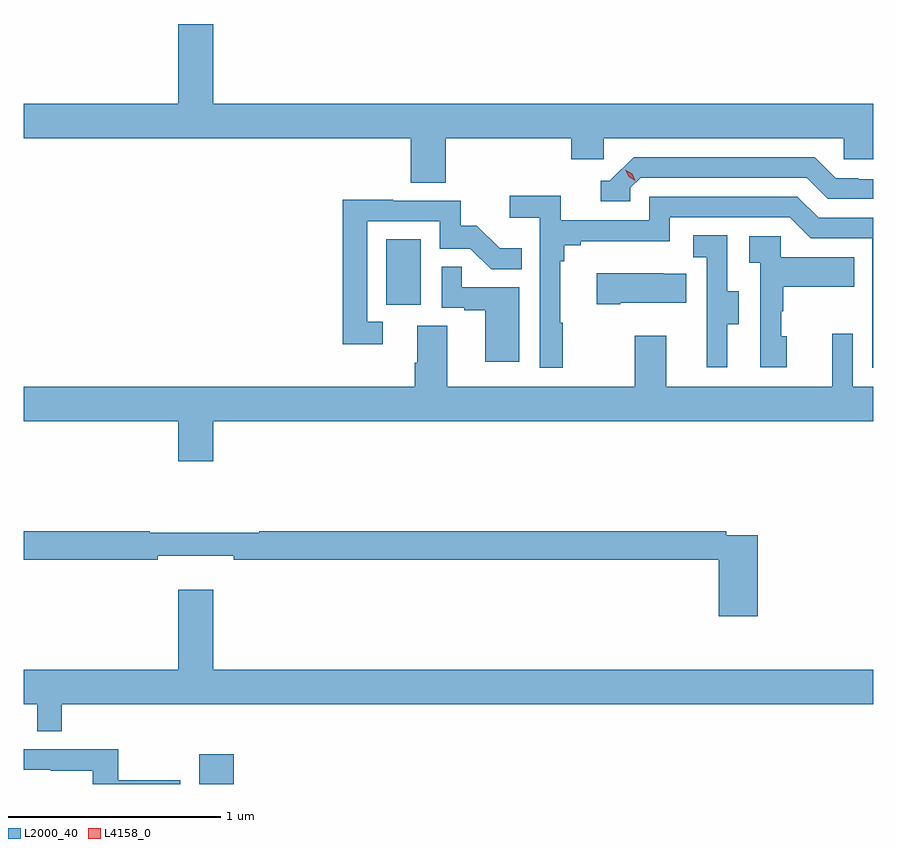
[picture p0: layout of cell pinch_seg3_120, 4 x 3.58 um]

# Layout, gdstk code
import gdstk
lib = gdstk.Library(unit=1e-6, precision=1e-09)
def R(c, l, rs):  # rectangles x0, y0, x1, y1
    for r in rs: c.add(gdstk.rectangle(r[:2], r[2:], *l))
def P(c, l, *ps):  # polygons
    for p in ps: c.add(gdstk.Polygon(p, *l))
L2000_40 = (2000, 40)
L4158_0 = (4158, 0)

pinch_seg3_120 = lib.new_cell('pinch_seg3_120')
R(pinch_seg3_120, L2000_40, [(1052.219,711.197,1052.38,711.337), (1053.098,713.454,1053.262,713.761)])
P(pinch_seg3_120, L2000_40, [(1053.38,714.236),(1053.971,714.236),(1053.971,714.138),(1054.122,714.138),(1054.122,714.236),(1055.253,714.236),(1055.253,714.138),(1055.392,714.138),(1055.392,714.4),(1052.284,714.4),(1052.284,714.775),(1052.12,714.775),(1052.12,714.4),(1051.392,714.4),(1051.392,714.236),(1053.215,714.236),(1053.215,714.028),(1053.38,714.028)],
  [(1054.248,714.003),(1054.296,714.051),(1055.079,714.051),(1055.178,713.952),(1055.392,713.952),(1055.392,714.045),(1055.322,714.045),(1055.322,714.048),(1055.215,714.048),(1055.116,714.147),(1054.263,714.147),(1054.152,714.036),(1054.109,714.036),(1054.109,713.94),(1054.248,713.94)],
  [(1053.931,713.369),(1053.919,713.369),(1053.919,713.657),(1053.938,713.657),(1053.938,713.734),(1054.015,713.734),(1054.015,713.753),(1054.434,713.753),(1054.434,713.865),(1054.998,713.865),(1055.097,713.766),(1055.388,713.766),(1055.388,713.157),(1055.392,713.157),(1055.392,713.862),(1055.134,713.862),(1055.035,713.961),(1054.338,713.961),(1054.338,713.85),(1053.92,713.85),(1053.92,713.966),(1053.681,713.966),(1053.681,713.864),(1053.822,713.864),(1053.822,713.157),(1053.931,713.157)],
  [(1053.082,713.373),(1053.009,713.373),(1053.009,713.847),(1053.351,713.847),(1053.351,713.718),(1053.495,713.718),(1053.593,713.62),(1053.737,713.62),(1053.737,713.719),(1053.633,713.719),(1053.526,713.826),(1053.45,713.826),(1053.45,713.943),(1053.131,713.943),(1053.131,713.948),(1052.893,713.948),(1052.893,713.268),(1053.082,713.268)],
  [(1054.705,713.362),(1054.759,713.362),(1054.759,713.517),(1054.704,713.517),(1054.704,713.78),(1054.545,713.78),(1054.545,713.677),(1054.608,713.677),(1054.608,713.373),(1054.607,713.373),(1054.607,713.16),(1054.705,713.16)],
  [(1054.984,713.304),(1054.959,713.304),(1054.959,713.423),(1054.969,713.423),(1054.969,713.537),(1055.303,713.537),(1055.303,713.677),(1054.956,713.677),(1054.956,713.775),(1054.809,713.775),(1054.809,713.651),(1054.86,713.651),(1054.86,713.16),(1054.984,713.16)],
  [(1053.724,713.535),(1053.455,713.535),(1053.455,713.633),(1053.36,713.633),(1053.36,713.439),(1053.467,713.439),(1053.467,713.427),(1053.566,713.427),(1053.566,713.184),(1053.724,713.184)],
  [(1054.201,713.462),(1054.511,713.462),(1054.511,713.599),(1054.403,713.599),(1054.403,713.602),(1054.089,713.602),(1054.089,713.455),(1054.201,713.455)],
  [(1055.392,713.068),(1055.295,713.068),(1055.295,713.317),(1055.198,713.317),(1055.198,713.068),(1054.417,713.068),(1054.417,713.308),(1054.27,713.308),(1054.27,713.068),(1053.385,713.068),(1053.385,713.354),(1053.245,713.354),(1053.245,713.18),(1053.233,713.18),(1053.233,713.068),(1051.392,713.068),(1051.392,712.904),(1052.12,712.904),(1052.12,712.716),(1052.284,712.716),(1052.284,712.904),(1055.392,712.904)],
  [(1054.847,712.368),(1054.7,712.368),(1054.7,712.388),(1052.5,712.388),(1052.5,712.381),(1051.985,712.381),(1051.985,712.388),(1051.392,712.388),(1051.392,712.252),(1052.024,712.252),(1052.024,712.271),(1052.38,712.271),(1052.38,712.252),(1054.664,712.252),(1054.664,711.987),(1054.847,711.987)],
  [(1051.571,711.572),(1055.392,711.572),(1055.392,711.736),(1052.284,711.736),(1052.284,712.111),(1052.12,712.111),(1052.12,711.736),(1051.392,711.736),(1051.392,711.572),(1051.455,711.572),(1051.455,711.445),(1051.571,711.445)],
  [(1052.13,711.214),(1051.837,711.214),(1051.837,711.36),(1051.392,711.36),(1051.392,711.264),(1051.519,711.264),(1051.519,711.259),(1051.716,711.259),(1051.716,711.197),(1052.13,711.197)])
P(pinch_seg3_120, L4158_0, [(1054.272,714.037),(1054.241,714.056),(1054.225,714.088),(1054.225,714.089),(1054.225,714.089),(1054.256,714.07),(1054.272,714.037),(1054.272,714.037)])

lib.write_gds('pinch_seg3_120.gds')
